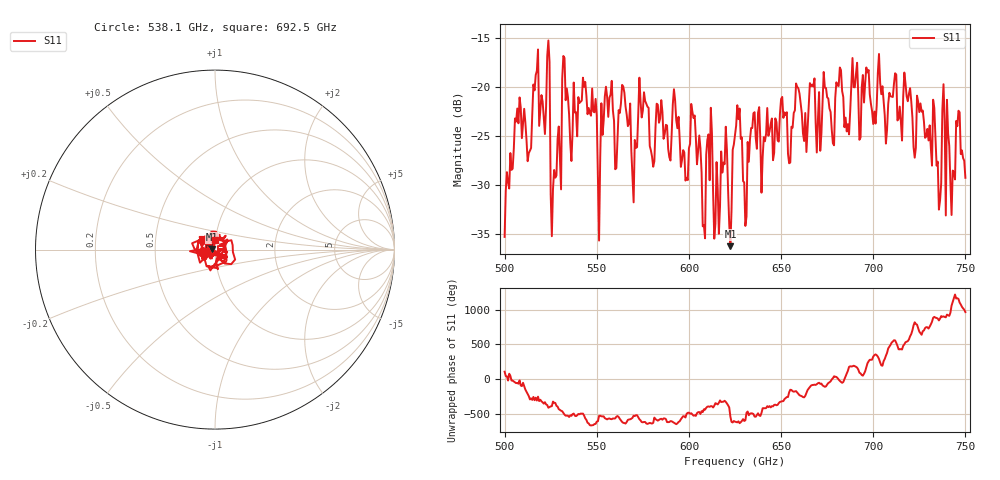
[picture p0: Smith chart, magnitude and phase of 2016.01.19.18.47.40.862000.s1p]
!Created with skrf (http://scikit-rf.org).
# GHz S RI R 50.0
!freq ReS11 ImS11
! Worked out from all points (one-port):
!   401 points, 500 GHz to 750 GHz, reference 50 ohm
!   lowest |S11| = -36.3 dB at 622.5 GHz (marker M1), VSWR 1.03, Z = 48.5 + j0.103 ohm
!   |S11| at or under -10 dB: start of sweep to end of sweep
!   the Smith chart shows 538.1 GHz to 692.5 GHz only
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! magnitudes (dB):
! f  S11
! 500 GHz  -35.3
! 506.9 GHz  -22.2
! 513.8 GHz  -26.5
! 516.9 GHz  -18.8
! 523.1 GHz  -16.9
! 526.2 GHz  -30.5
! 531.2 GHz  -19.2
! 543.1 GHz  -20.0
! 551.9 GHz  -27.2
! 555.6 GHz  -21.0
! 562.5 GHz  -22.7
! 570 GHz  -31.8
! 574.4 GHz  -23.1
! 580 GHz  -27.2
! 593.8 GHz  -24.3
! 602.5 GHz  -23.2
! 607.5 GHz  -34.3
! 611.2 GHz  -29.6
! 622.5 GHz  -36.3
! 625 GHz  -25.0
! 630.6 GHz  -34.2
! 634.4 GHz  -24.2
! 656.2 GHz  -24.2
! 687.5 GHz  -22.5
! 718.8 GHz  -21.5
! 735.6 GHz  -32.6
! 738.8 GHz  -23.5
! 750 GHz  -29.3
